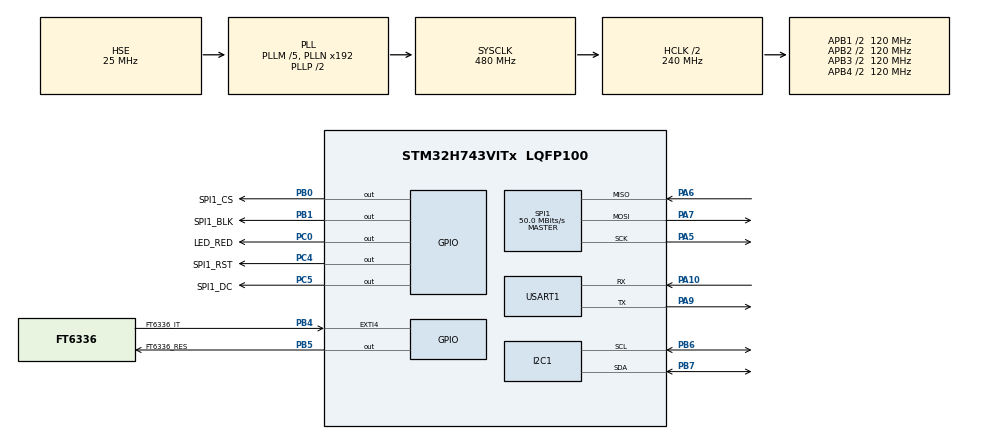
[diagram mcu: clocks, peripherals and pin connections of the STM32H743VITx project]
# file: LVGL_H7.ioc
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CORTEX_M7.default_mode_Activation=1
Dma.Request0=SPI1_TX
Dma.SPI1_TX.0.Direction=DMA_MEMORY_TO_PERIPH
Dma.SPI1_TX.0.EventEnable=DISABLE
Dma.SPI1_TX.0.FIFOMode=DMA_FIFOMODE_DISABLE
Dma.SPI1_TX.0.Instance=DMA1_Stream0
Dma.SPI1_TX.0.MemDataAlignment=DMA_MDATAALIGN_BYTE
Dma.SPI1_TX.0.MemInc=DMA_MINC_ENABLE
Dma.SPI1_TX.0.Mode=DMA_NORMAL
Dma.SPI1_TX.0.PeriphDataAlignment=DMA_PDATAALIGN_BYTE
Dma.SPI1_TX.0.PeriphInc=DMA_PINC_DISABLE
Dma.SPI1_TX.0.Polarity=HAL_DMAMUX_REQ_GEN_RISING
Dma.SPI1_TX.0.Priority=DMA_PRIORITY_VERY_HIGH
Dma.SPI1_TX.0.RequestNumber=1
Dma.SPI1_TX.0.SignalID=NONE
Dma.SPI1_TX.0.SyncEnable=DISABLE
Dma.SPI1_TX.0.SyncPolarity=HAL_DMAMUX_SYNC_NO_EVENT
Dma.SPI1_TX.0.SyncRequestNumber=1
Dma.SPI1_TX.0.SyncSignalID=NONE
I2C1.Timing=0x307075B1
Mcu.Family=STM32H7
Mcu.Name=STM32H743VITx
Mcu.Package=LQFP100
NVIC.DMA1_Stream0_IRQn=true\:0\:0\:false\:false\:true\:false\:true\:true
NVIC.PriorityGroup=NVIC_PRIORITYGROUP_4
NVIC.SPI1_IRQn=true\:0\:0\:false\:false\:true\:false\:true\:true
NVIC.TIM1_BRK_IRQn=true\:0\:0\:false\:false\:true\:true\:true\:true
NVIC.TIM1_UP_IRQn=true\:0\:0\:false\:false\:true\:true\:true\:true
NVIC.USART1_IRQn=true\:0\:0\:false\:false\:true\:true\:true\:true
PA10.Mode=Asynchronous
PA10.Signal=USART1_RX
PA5.GPIO_Speed=GPIO_SPEED_FREQ_VERY_HIGH
PA5.Mode=Full_Duplex_Master
PA5.Signal=SPI1_SCK
PA6.GPIO_Speed=GPIO_SPEED_FREQ_VERY_HIGH
PA6.Mode=Full_Duplex_Master
PA6.Signal=SPI1_MISO
PA7.GPIO_Speed=GPIO_SPEED_FREQ_VERY_HIGH
PA7.Mode=Full_Duplex_Master
PA7.Signal=SPI1_MOSI
PA9.Mode=Asynchronous
PA9.Signal=USART1_TX
PB0.GPIO_Label=SPI1_CS
PB0.GPIO_Speed=GPIO_SPEED_FREQ_VERY_HIGH
PB0.Signal=GPIO_Output
PB1.GPIO_Label=SPI1_BLK
PB1.GPIO_Speed=GPIO_SPEED_FREQ_VERY_HIGH
PB1.Signal=GPIO_Output
PB4\ (NJTRST).GPIO_Label=FT6336_IT
PB4\ (NJTRST).GPIO_ModeDefaultEXTI=GPIO_MODE_IT_FALLING
PB4\ (NJTRST).GPIO_PuPd=GPIO_PULLUP
PB4\ (NJTRST).Signal=GPXTI4
PB5.GPIO_Label=FT6336_RES
PB5.GPIO_Speed=GPIO_SPEED_FREQ_VERY_HIGH
PB5.PinState=GPIO_PIN_RESET
PB5.Signal=GPIO_Output
PB6.Mode=I2C
PB6.Signal=I2C1_SCL
PB7.Mode=I2C
PB7.Signal=I2C1_SDA
PC0.GPIO_Label=LED_RED
PC0.GPIO_Speed=GPIO_SPEED_FREQ_VERY_HIGH
PC0.Signal=GPIO_Output
PC4.GPIO_Label=SPI1_RST
PC4.GPIO_Speed=GPIO_SPEED_FREQ_VERY_HIGH
PC4.Signal=GPIO_Output
PC5.GPIO_Label=SPI1_DC
PC5.GPIO_Speed=GPIO_SPEED_FREQ_VERY_HIGH
PC5.Signal=GPIO_Output
PH0-OSC_IN\ (PH0).Mode=HSE-External-Oscillator
PH0-OSC_IN\ (PH0).Signal=RCC_OSC_IN
PH1-OSC_OUT\ (PH1).Mode=HSE-External-Oscillator
PH1-OSC_OUT\ (PH1).Signal=RCC_OSC_OUT
ProjectManager.HeapSize=0x800
ProjectManager.StackSize=0x1000
ProjectManager.TargetToolchain=MDK-ARM V5.32
RCC.ADCFreq_Value=100000000
RCC.APB1Freq_Value=120000000
RCC.APB2Freq_Value=120000000
RCC.APB3Freq_Value=120000000
RCC.APB4Freq_Value=120000000
RCC.CortexFreq_Value=480000000
RCC.D1PPRE=RCC_APB3_DIV2
RCC.D2PPRE1=RCC_APB1_DIV2
RCC.D2PPRE2=RCC_APB2_DIV2
RCC.D3PPRE=RCC_APB4_DIV2
RCC.DIVM1=5
RCC.DIVM2=5
RCC.DIVN1=192
RCC.DIVN2=40
RCC.DIVQ1=5
RCC.HCLKFreq_Value=240000000
RCC.HPRE=RCC_HCLK_DIV2
RCC.PLL2FRACN=0
RCC.PLL3FRACN=0
RCC.PLLFRACN=0
RCC.PLLSourceVirtual=RCC_PLLSOURCE_HSE
RCC.SPI123CLockSelection=RCC_SPI123CLKSOURCE_PLL2
RCC.SYSCLKFreq_VALUE=480000000
RCC.SYSCLKSource=RCC_SYSCLKSOURCE_PLLCLK
RCC.USBFreq_Value=192000000
SPI1.BaudRatePrescaler=SPI_BAUDRATEPRESCALER_2
SPI1.CalculateBaudRate=50.0 MBits/s
SPI1.DataSize=SPI_DATASIZE_8BIT
SPI1.Direction=SPI_DIRECTION_2LINES
SPI1.Mode=SPI_MODE_MASTER
SPI1.VirtualType=VM_MASTER
TIM1.Period=1000 - 1
TIM1.Prescaler=240 - 1
USART1.VirtualMode-Asynchronous=VM_ASYNC
VP_MEMORYMAP_VS_MEMORYMAP.Mode=CurAppReg
VP_TIM1_VS_ClockSourceINT.Mode=Internal
board=custom

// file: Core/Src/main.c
/* USER CODE BEGIN Header */
/**
  ******************************************************************************
  * @file           : main.c
  * @brief          : Main program body
  ******************************************************************************
  * @attention
  *
  * Copyright (c) 2025 STMicroelectronics.
  * All rights reserved.
  *
  * This software is licensed under terms that can be found in the LICENSE file
  * in the root directory of this software component.
  * If no LICENSE file comes with this software, it is provided AS-IS.
  *
  ******************************************************************************
  */
/* USER CODE END Header */
#include "main.h"
#include "dma.h"
#include "i2c.h"
#include "spi.h"
#include "tim.h"
#include "usart.h"
#include "gpio.h"

/* USER CODE BEGIN Includes */
#include "lcd.h"
#include <stdbool.h>
//#include "LED.h"
//#include "ili9341.h"
#include <stdio.h>
#include <string.h>

#include "lvgl.h"                // 它为整个LVGL提供了更完整的头文件引用
#include "lv_port_disp.h"        // LVGL的显示支持
#include  "lv_port_indev.h"      // LVGL的输入设备支持

#include "touch.h"
/* USER CODE END Includes */

/* USER CODE BEGIN PV */

volatile uint8_t flag = 0;
 uint8_t chr[50] = {0};
 uint8_t chr_single = 0;
bool lv_flush_flag = false;
/* USER CODE END PV */

void SystemClock_Config(void);
static void MPU_Config(void);

/* USER CODE BEGIN 0 */
static lv_obj_t * label;

static void slider_event_cb(lv_event_t * e)
{
    lv_obj_t * slider = lv_event_get_target(e);

    /*Refresh the text*/
    lv_label_set_text_fmt(label, "%d", lv_slider_get_value(slider));
}

void mybtn_cb(lv_event_t * e)
{
  lv_obj_t * btn = lv_event_get_target(e);
  if (e->code == LV_EVENT_CLICKED)
  {
    static uint16_t count = 0;
    count++;
    lv_obj_t * label = lv_obj_get_child(btn, 0);
    lv_label_set_text_fmt(label, "Pressed: %d", count);
  }

}
/* USER CODE END 0 */

int main(void)
{

  /* MPU Configuration--------------------------------------------------------*/
  MPU_Config();

  /* MCU Configuration--------------------------------------------------------*/

  /* Reset of all peripherals, Initializes the Flash interface and the Systick. */
  HAL_Init();

  /* Configure the system clock */
  SystemClock_Config();

  /* Initialize all configured peripherals */
  MX_GPIO_Init();
  MX_DMA_Init();
  MX_USART1_UART_Init();
  MX_SPI1_Init();
  MX_TIM1_Init();
  MX_I2C1_Init();
  /* USER CODE BEGIN 2 */
  LCD_Init();
  TP_Init();
  // LCD_Fill_DMA_DoubleBuffer(50,50,200,200,BLUE); // 测试DMA双缓冲填充
//  LCD_Clear(RED);//清全屏白色
	lv_init();                             // LVGL 初始化
	lv_port_disp_init();
  lv_port_indev_init();
//  lv_color_t red = lv_color_make(255, 0, 0);   // 红色
//  lv_color_t green = lv_color_make(0, 255, 0); // 绿色
//  lv_color_t blue = lv_color_make(0, 0, 255);  // 蓝色
//  lv_color_t yellow = lv_color_make(255, 255, 0); // 黄色
//    lv_obj_t *rect = lv_obj_create(lv_scr_act()); // 父对象为当前屏幕
//    lv_obj_set_size(rect, 200, 200);              // 设置矩形大小
//    lv_obj_set_pos(rect, 50, 0);                 // 设置矩形位置

//  // 定义一个颜色数组用于测试
//  lv_color_t colors[] = {red, green, blue, yellow};
//  uint8_t color_index = 0;

	    // 按钮
  lv_obj_t *myBtn = lv_btn_create(lv_scr_act());                               // 创建按钮; 父对象：当前活动屏幕
  lv_obj_set_pos(myBtn, 10, 10);                                               // 设置坐标
  lv_obj_set_size(myBtn, 120, 50);                                             // 设置大小
  lv_obj_add_event_cb(myBtn, mybtn_cb, LV_EVENT_CLICKED, NULL); // 添加点击事件回调

  // 按钮上的文本
  lv_obj_t *label_btn = lv_label_create(myBtn);                                // 创建文本标签，父对象：上面的btn按钮
  lv_obj_align(label_btn, LV_ALIGN_CENTER, 0, 0);                              // 对齐于：父对象
  lv_label_set_text(label_btn, "Test");                                        // 设置标签的文本

  // 独立的标签
  lv_obj_t *myLabel = lv_label_create(lv_scr_act());                           // 创建文本标签; 父对象：当前活动屏幕
  lv_label_set_text(myLabel, "Hello world!");                                  // 设置标签的文本
  lv_obj_align(myLabel, LV_ALIGN_CENTER, 0, 0);                                // 对齐于：父对象
  lv_obj_align_to(myBtn, myLabel, LV_ALIGN_OUT_TOP_MID, 0, -20);               // 对齐于：某对象

  lv_obj_t* slider = lv_slider_create(lv_scr_act());                           // 创建滑块; 父对象：当前活动屏幕
  lv_obj_set_pos(slider, (320 - 200) / 2, 200);                                               // 设置坐标
  lv_obj_set_size(slider, 200, 20);                                             // 设置大小
  lv_slider_set_value(slider, 0, LV_ANIM_OFF);                                 // 设置初始值
  lv_slider_set_range(slider, 0, 180);                                 // 设置范围0-100

  label = lv_label_create(lv_scr_act());
  lv_label_set_text(label, "0");
  lv_obj_align_to(label, slider, LV_ALIGN_OUT_TOP_MID, 0, -30);    /*Align top of the slider*/
  lv_obj_add_event_cb(slider, slider_event_cb, LV_EVENT_VALUE_CHANGED, NULL);

  HAL_TIM_Base_Start_IT(&htim1); // 启动定时器中断

  /* USER CODE END 2 */

  /* Infinite loop */
  /* USER CODE BEGIN WHILE */
  while (1)
  {
    // if(FT6336_Scan())
    // {
    //   printf("Touch at (%d, %d)\n", tp_dev.x[0], tp_dev.y[0]);
    //   // lv_indev_data_t data;
    //   // data.point.x = tp_dev.x[0];
    //   // data.point.y = tp_dev.y[0];
    //   // data.state = LV_INDEV_STATE_PR; // 触摸按下状态
    //   // lv_indev_set_point(lv_get_indev(LV_INDEV_TYPE_POINTER), &data);

	  // }
    // else
    // {
    //   lv_indev_data_t data;
    //   data.state = LV_INDEV_STATE_REL; // 触摸释放状态
    //   lv_indev_set_point(lv_get_indev(LV_INDEV_TYPE_POINTER), &data);
    // }
    if (lv_flush_flag)
    {
      lv_flush_flag  = false;
      lv_task_handler(); // 处理LVGL任务
      // printf("lv_task_handler called\n");
    }
  // static uint32_t last_tick = 0;
  //    if (HAL_GetTick() - last_tick >= 1000)
  //    {
  //        last_tick = HAL_GetTick();
  //        lv_obj_set_style_bg_color(rect, colors[color_index], LV_PART_MAIN);
  //        color_index = (color_index + 1) % 4; // 循环切换颜色
  //    }
    /* USER CODE END WHILE */

  }
}

void SystemClock_Config(void)
{
  RCC_OscInitTypeDef RCC_OscInitStruct = {0};
  RCC_ClkInitTypeDef RCC_ClkInitStruct = {0};

  /** Supply configuration update enable
  */
  HAL_PWREx_ConfigSupply(PWR_LDO_SUPPLY);

  /** Configure the main internal regulator output voltage
  */
  __HAL_PWR_VOLTAGESCALING_CONFIG(PWR_REGULATOR_VOLTAGE_SCALE0);

  while(!__HAL_PWR_GET_FLAG(PWR_FLAG_VOSRDY)) {}

  /** Initializes the RCC Oscillators according to the specified parameters
  * in the RCC_OscInitTypeDef structure.
  */
  RCC_OscInitStruct.OscillatorType = RCC_OSCILLATORTYPE_HSE;
  RCC_OscInitStruct.HSEState = RCC_HSE_ON;
  RCC_OscInitStruct.PLL.PLLState = RCC_PLL_ON;
  RCC_OscInitStruct.PLL.PLLSource = RCC_PLLSOURCE_HSE;
  RCC_OscInitStruct.PLL.PLLM = 5;
  RCC_OscInitStruct.PLL.PLLN = 192;
  RCC_OscInitStruct.PLL.PLLP = 2;
  RCC_OscInitStruct.PLL.PLLQ = 5;
  RCC_OscInitStruct.PLL.PLLR = 2;
  RCC_OscInitStruct.PLL.PLLRGE = RCC_PLL1VCIRANGE_2;
  RCC_OscInitStruct.PLL.PLLVCOSEL = RCC_PLL1VCOWIDE;
  RCC_OscInitStruct.PLL.PLLFRACN = 0;
  if (HAL_RCC_OscConfig(&RCC_OscInitStruct) != HAL_OK)
  {
    Error_Handler();
  }

  /** Initializes the CPU, AHB and APB buses clocks
  */
  RCC_ClkInitStruct.ClockType = RCC_CLOCKTYPE_HCLK|RCC_CLOCKTYPE_SYSCLK
                              |RCC_CLOCKTYPE_PCLK1|RCC_CLOCKTYPE_PCLK2
                              |RCC_CLOCKTYPE_D3PCLK1|RCC_CLOCKTYPE_D1PCLK1;
  RCC_ClkInitStruct.SYSCLKSource = RCC_SYSCLKSOURCE_PLLCLK;
  RCC_ClkInitStruct.SYSCLKDivider = RCC_SYSCLK_DIV1;
  RCC_ClkInitStruct.AHBCLKDivider = RCC_HCLK_DIV2;
  RCC_ClkInitStruct.APB3CLKDivider = RCC_APB3_DIV2;
  RCC_ClkInitStruct.APB1CLKDivider = RCC_APB1_DIV2;
  RCC_ClkInitStruct.APB2CLKDivider = RCC_APB2_DIV2;
  RCC_ClkInitStruct.APB4CLKDivider = RCC_APB4_DIV2;

  if (HAL_RCC_ClockConfig(&RCC_ClkInitStruct, FLASH_LATENCY_4) != HAL_OK)
  {
    Error_Handler();
  }
}

/* USER CODE BEGIN 4 */

void HAL_TIM_PeriodElapsedCallback(TIM_HandleTypeDef *htim)
{
  static uint8_t lv_tick = 0;
  if(htim->Instance == TIM1)
  {

    lv_tick_inc(1); // 每1毫秒调用一次lv_tick_inc
    lv_tick++;
    if(lv_tick % 5 == 0) // 每5毫秒调用一次lv_task_handler
    {

      lv_flush_flag = true;

    }
	if(lv_tick >= 200)
	{
		// printf("test\n");
		lv_tick = 0;
	}
  }
}

void HAL_UART_RxCpltCallback(UART_HandleTypeDef *huart)
{
  if (huart->Instance == USART1)
  {
    HAL_UART_Receive_IT(&huart1,&chr_single,1);
    printf("%c",chr_single);
    if(chr_single == '\n')
    // if(strlen(chr) >= 1)
    {
      flag = 1;
    }
  }

}
/* USER CODE END 4 */

 /* MPU Configuration */

void MPU_Config(void)
{
  MPU_Region_InitTypeDef MPU_InitStruct = {0};

  /* Disables the MPU */
  HAL_MPU_Disable();

  /** Initializes and configures the Region and the memory to be protected
  */
  MPU_InitStruct.Enable = MPU_REGION_ENABLE;
  MPU_InitStruct.Number = MPU_REGION_NUMBER0;
  MPU_InitStruct.BaseAddress = 0x0;
  MPU_InitStruct.Size = MPU_REGION_SIZE_4GB;
  MPU_InitStruct.SubRegionDisable = 0x87;
  MPU_InitStruct.TypeExtField = MPU_TEX_LEVEL0;
  MPU_InitStruct.AccessPermission = MPU_REGION_NO_ACCESS;
  MPU_InitStruct.DisableExec = MPU_INSTRUCTION_ACCESS_DISABLE;
  MPU_InitStruct.IsShareable = MPU_ACCESS_SHAREABLE;
  MPU_InitStruct.IsCacheable = MPU_ACCESS_NOT_CACHEABLE;
  MPU_InitStruct.IsBufferable = MPU_ACCESS_NOT_BUFFERABLE;

  HAL_MPU_ConfigRegion(&MPU_InitStruct);
  /* Enables the MPU */
  HAL_MPU_Enable(MPU_PRIVILEGED_DEFAULT);

}

void Error_Handler(void)
{
  __disable_irq();
  while (1)
  {
  }
}
